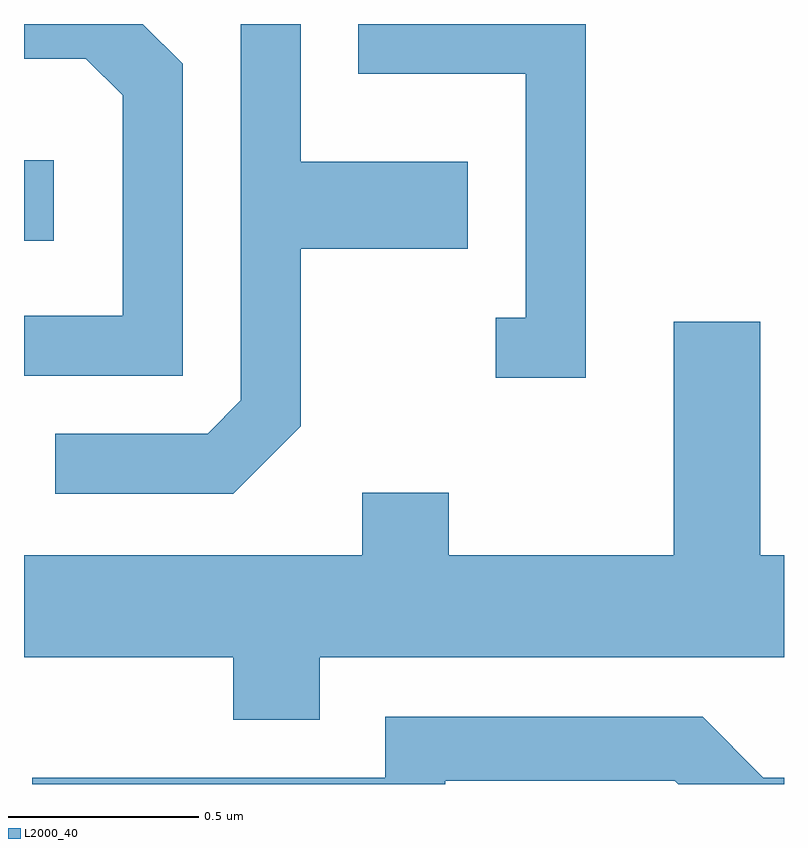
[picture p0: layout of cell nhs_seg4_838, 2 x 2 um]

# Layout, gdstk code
import gdstk
lib = gdstk.Library(unit=1e-6, precision=1e-09)
def R(c, l, rs):  # rectangles x0, y0, x1, y1
    for r in rs: c.add(gdstk.rectangle(r[:2], r[2:], *l))
def P(c, l, *ps):  # polygons
    for p in ps: c.add(gdstk.Polygon(p, *l))
L2000_40 = (2000, 40)

nhs_seg4_838 = lib.new_cell('nhs_seg4_838')
R(nhs_seg4_838, L2000_40, [(191.611,1271.411,191.689,1271.624)])
P(nhs_seg4_838, L2000_40, [(192.029,1271.877),(191.924,1271.982),(191.611,1271.982),(191.611,1271.891),(191.774,1271.891),(191.871,1271.794),(191.871,1271.214),(191.611,1271.214),(191.611,1271.056),(192.029,1271.056)],
  [(192.339,1270.924),(192.339,1271.391),(192.779,1271.391),(192.779,1271.619),(192.339,1271.619),(192.339,1271.982),(192.181,1271.982),(192.181,1270.992),(192.094,1270.904),(191.693,1270.904),(191.693,1270.746),(192.162,1270.746)],
  [(193.089,1271.982),(192.491,1271.982),(192.491,1271.851),(192.931,1271.851),(192.931,1271.209),(192.853,1271.209),(192.853,1271.051),(193.089,1271.051)],
  [(192.389,1270.316),(193.611,1270.316),(193.611,1270.584),(193.549,1270.584),(193.549,1271.199),(193.321,1271.199),(193.321,1270.584),(192.729,1270.584),(192.729,1270.749),(192.501,1270.749),(192.501,1270.584),(191.611,1270.584),(191.611,1270.316),(192.161,1270.316),(192.161,1270.151),(192.389,1270.151)],
  [(192.719,1269.991),(193.324,1269.991),(193.333,1269.982),(193.611,1269.982),(193.611,1269.999),(193.557,1269.999),(193.397,1270.159),(192.561,1270.159),(192.561,1269.999),(191.633,1269.999),(191.633,1269.982),(192.719,1269.982)])

lib.write_gds('nhs_seg4_838.gds')
